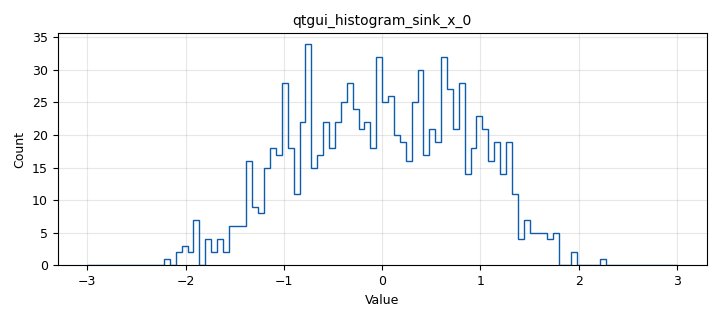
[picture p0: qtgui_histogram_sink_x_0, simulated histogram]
options:
  parameters:
    author: lizaness
    generate_options: qt_gui
    id: aplicacion_ruido
    output_language: python
    title: Aplicacion Practica - Canal AWGN
  states: {}

blocks:
- name: amp_ruido
  id: variable_qtgui_range
  parameters:
    label: Nivel de Ruido (Sigma)
    start: '0'
    step: '0.05'
    stop: '2'
    value: '0.5'
  states: {}
- name: samp_rate
  id: variable
  parameters:
    value: '32000'
  states: {}
- name: analog_noise_source_x_0
  id: analog_noise_source_x
  parameters:
    amp: amp_ruido
    noise_type: analog.GR_GAUSSIAN
    seed: '0'
    type: float
  states: {}
- name: analog_sig_source_x_0
  id: analog_sig_source_x
  parameters:
    amp: '1'
    freq: '1000'
    offset: '0'
    phase: '0'
    samp_rate: samp_rate
    type: float
    waveform: analog.GR_COS_WAVE
  states: {}
- name: blocks_add_xx_0
  id: blocks_add_xx
  parameters:
    type: float
  states: {}
- name: blocks_throttle2_0
  id: blocks_throttle2
  parameters:
    samples_per_second: samp_rate
    type: float
  states: {}
- name: epy_block_0
  id: epy_block
  parameters:
    _source_code: "\"\"\"\nEmbedded Python Blocks:\n\nEach time this file is saved, GRC will instantiate the first class it finds\nto get ports and parameters of your block. The arguments to __init__  will\nbe the parameters. All of them are required to have default values!\n\"\"\"\n\nimport numpy as np\nfrom gnuradio import gr\n\nclass blk(gr.sync_block):\n    \"\"\"Bloque de Promedios de Tiempo Estadísticos\"\"\"\n\n    def __init__(self):\n        gr.sync_block.__init__(\n            self,\n            name='Promedios_de_tiempos',\n            in_sig=[np.float32],\n            out_sig=[np.float32, np.float32, np.float32, np.float32, np.float32]\n        )\n        self.acum_anterior = 0.0\n        self.Ntotales = 0\n        self.acum_anterior1 = 0.0\n        self.acum_anterior2 = 0.0\n\n    def work(self, input_items, output_items):\n        x = input_items[0]\n        y0 = output_items[0]  # Media\n        y1 = output_items[1]  # Media Cuadrática\n        y2 = output_items[2]  # RMS\n        y3 = output_items[3]  # Potencia Promedio\n        y4 = output_items[4]  # Desviación Estándar\n\n        N = len(x)\n        if N > 0:\n            self.Ntotales += N\n\n            # 1. Media\n            acumulado = self.acum_anterior + np.cumsum(x)\n            self.acum_anterior = acumulado[-1]\n            y0[:] = acumulado / self.Ntotales\n\n            # 2. Media Cuadrática\n            x2 = np.multiply(x, x)\n            acumulado1 = self.acum_anterior1 + np.cumsum(x2)\n            self.acum_anterior1 = acumulado1[-1]  # Corrección de variable en la guía\n            y1[:] = acumulado1 / self.Ntotales\n\n            # 3. Valor RMS\n            y2[:] = np.sqrt(y1)\n\n            # 4. Potencia Promedio\n            y3[:] = np.multiply(y2, y2)\n\n            # 5. Desviación Estándar\n            x3 = np.multiply(x - y0, x - y0)\n            acumulado2 = self.acum_anterior2 + np.cumsum(x3)\n            self.acum_anterior2 = acumulado2[-1]\n            y4[:] = np.sqrt(acumulado2 / self.Ntotales)\n\n        return len(x)\n\n\n\n"
  states: {}
- name: qtgui_histogram_sink_x_0
  id: qtgui_histogram_sink_x
  parameters:
    bins: '100'
    size: '1024'
    type: float
    xmax: '3'
    xmin: '-3'
  states: {}
- name: qtgui_number_sink_0_0
  id: qtgui_number_sink
  parameters:
    graph_type: qtgui.NUM_GRAPH_HORIZ
    name: '"Media"'
    type: float
  states: {}
- name: qtgui_number_sink_0_1
  id: qtgui_number_sink
  parameters:
    graph_type: qtgui.NUM_GRAPH_HORIZ
    name: '"Media Cuadratica"'
    type: float
  states: {}
- name: qtgui_number_sink_0_2
  id: qtgui_number_sink
  parameters:
    graph_type: qtgui.NUM_GRAPH_HORIZ
    name: '"RMS"'
    type: float
  states: {}
- name: qtgui_number_sink_0_3
  id: qtgui_number_sink
  parameters:
    graph_type: qtgui.NUM_GRAPH_HORIZ
    name: '"Potencia Promedio"'
    type: float
  states: {}
- name: qtgui_number_sink_0_4
  id: qtgui_number_sink
  parameters:
    graph_type: qtgui.NUM_GRAPH_HORIZ
    name: '"Desviacion Estandar"'
    type: float
  states: {}

connections:
- [analog_noise_source_x_0, '0', blocks_add_xx_0, '1']
- [analog_sig_source_x_0, '0', blocks_add_xx_0, '0']
- [blocks_add_xx_0, '0', blocks_throttle2_0, '0']
- [blocks_throttle2_0, '0', epy_block_0, '0']
- [blocks_throttle2_0, '0', qtgui_histogram_sink_x_0, '0']
- [epy_block_0, '0', qtgui_number_sink_0_0, '0']
- [epy_block_0, '1', qtgui_number_sink_0_1, '0']
- [epy_block_0, '2', qtgui_number_sink_0_2, '0']
- [epy_block_0, '3', qtgui_number_sink_0_3, '0']
- [epy_block_0, '4', qtgui_number_sink_0_4, '0']

metadata:
  file_format: 1
  grc_version: 3.10.12.0
